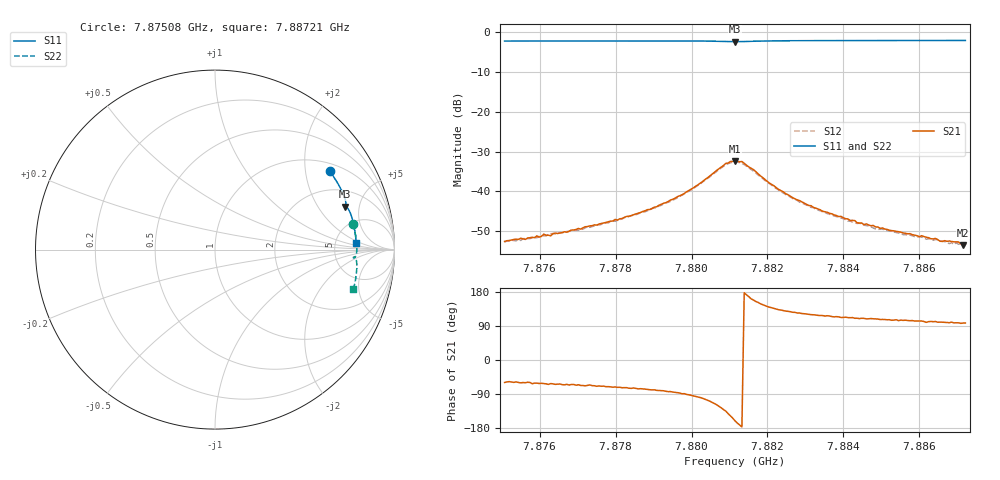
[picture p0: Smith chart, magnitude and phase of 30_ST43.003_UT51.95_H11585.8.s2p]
#  HZ  S  DB  R  50.00
! Rohde & Schwarz Vector Network Analyzer
! Rohde-Schwarz,ZNB20-2Port,1311601062101988,3.16
! Created: UTC 1/12/2023, 6:31:20 PM
! freq[Hz]  db:S11  ang:S11  db:S21  ang:S21  db:S12  ang:S12  db:S22  ang:S22
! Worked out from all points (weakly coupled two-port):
!   201 points, 7.87508 GHz to 7.88721 GHz, reference 50 ohm
!   highest |S21| = -32.40 dB at 7.88114 GHz (marker M1); lowest = -53.5 dB at 7.88715 GHz (marker M2)
!   lowest |S11| = -2.4 dB at 7.88114 GHz (marker M3), VSWR 7.33, Z = 157 + j177 ohm
!   |S11| at or under -10 dB: nowhere
!   |S22| runs from -2.3 to -1.9 dB; largest |S21 - S12| = 0.0022
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7.875079e9  -2.23 34.3  -52.56 -59.3  -52.69 -61.4  -2.13 10.3
7.875928e9  -2.21 32.0  -51.15 -61.0  -51.61 -66.1  -2.11 8.4
7.875989e9  -2.21 31.9  -51.46 -62.0  -51.42 -66.4  -2.11 8.2
7.87611e9  -2.21 31.5  -50.72 -62.1  -51.11 -65.9  -2.11 7.9
7.876292e9  -2.20 31.0  -51.15 -62.2  -50.63 -67.4  -2.10 7.5
7.876414e9  -2.20 30.7  -50.45 -64.3  -50.68 -66.8  -2.09 7.2
7.877141e9  -2.19 28.7  -49.13 -67.3  -49.49 -70.0  -2.08 5.5
7.878051e9  -2.18 26.2  -47.20 -72.2  -47.25 -75.4  -2.06 3.4
7.879143e9  -2.18 23.2  -43.47 -80.4  -43.69 -83.9  -2.04 0.8
7.880053e9  -2.20 20.5  -39.08 -94.9  -39.24 -98.0  -2.06 -1.5
7.880902e9  -2.34 18.4  -32.95 -134.9  -33.32 -139.2  -2.21 -3.3
7.881145e9  -2.38 18.3  -32.40 -160.4  -32.55 -162.6  -2.25 -3.3
7.881327e9  -2.36 18.3  -32.48 -176.5  -32.94 178.9  -2.23 -3.1
7.882297e9  -2.17 16.0  -39.50 132.6  -39.65 129.5  -2.02 -5.0
7.883207e9  -2.13 13.4  -44.00 119.4  -44.07 116.1  -1.98 -7.2
7.884117e9  -2.11 10.9  -46.90 111.9  -47.43 109.7  -1.95 -9.3
7.885208e9  -2.09 8.0  -49.75 106.4  -49.96 102.9  -1.93 -11.7
7.886421e9  -2.08 4.8  -51.79 101.7  -52.08 97.6  -1.93 -14.3
7.886543e9  -2.08 4.5  -52.50 100.1  -52.49 97.2  -1.92 -14.6
7.887028e9  -2.07 3.3  -52.67 98.1  -53.27 93.6  -1.92 -15.6
7.887149e9  -2.07 2.9  -53.47 97.4  -53.52 93.4  -1.92 -15.9
7.88721e9  -2.08 2.8  -53.31 97.6  -53.74 96.2  -1.92 -16.0
